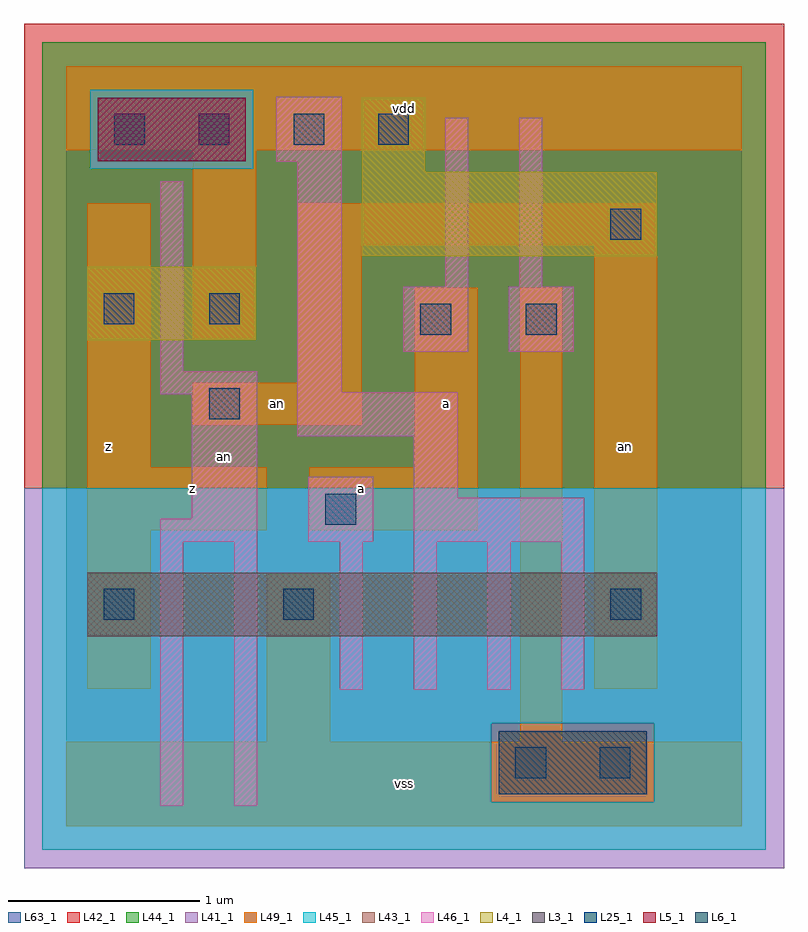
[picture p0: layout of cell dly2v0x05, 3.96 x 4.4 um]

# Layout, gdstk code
import gdstk
lib = gdstk.Library(unit=1e-6, precision=1e-09)
def R(c, l, rs):  # rectangles x0, y0, x1, y1
    for r in rs: c.add(gdstk.rectangle(r[:2], r[2:], *l))
def A(c, l, x, y, w, h, nx, ny, dx, dy):  # array of equal rectangles
    R(c, l, [(x+i*dx, y+j*dy, x+i*dx+w, y+j*dy+h) for i in range(nx) for j in range(ny)])
L3_1 = (3, 1)
L4_1 = (4, 1)
L5_1 = (5, 1)
L6_1 = (6, 1)
L25_1 = (25, 1)
L41_1 = (41, 1)
L42_1 = (42, 1)
L43_1 = (43, 1)
L44_1 = (44, 1)
L45_1 = (45, 1)
L46_1 = (46, 1)
L49_1 = (49, 1)
L63_1 = (63, 1)

dly2v0x05 = lib.new_cell('dly2v0x05')
R(dly2v0x05, L3_1, [(0.11,0.99,3.08,1.32)])
R(dly2v0x05, L4_1, [(0.11,2.53,0.99,2.915), (1.54,2.97,3.08,3.41), (1.54,3.41,1.87,3.795)])
R(dly2v0x05, L5_1, [(0.165,3.465,0.935,3.795)])
R(dly2v0x05, L6_1, [(2.255,0.165,3.025,0.495)])
R(dly2v0x05, L25_1, [(2.34,0.25,2.5,0.41), (2.78,0.25,2.94,0.41), (0.195,1.075,0.355,1.235), (1.13,1.075,1.29,1.235), (2.835,1.075,2.995,1.235), (1.35,1.57,1.51,1.73), (0.745,2.12,0.905,2.28), (1.845,2.56,2.005,2.72), (2.395,2.56,2.555,2.72), (0.195,2.615,0.355,2.775), (0.745,2.615,0.905,2.775), (2.835,3.055,2.995,3.215), (0.25,3.55,0.41,3.71), (0.69,3.55,0.85,3.71), (1.185,3.55,1.345,3.71), (1.625,3.55,1.785,3.71)])
R(dly2v0x05, L41_1, [(-0.22,-0.22,3.74,1.76)])
R(dly2v0x05, L42_1, [(-0.22,1.76,3.74,4.18)])
R(dly2v0x05, L43_1, [(2.255,0.165,3.025,0.495), (0.11,0.99,3.08,1.32), (0.11,2.53,0.99,2.915), (1.54,2.97,3.08,3.41), (1.54,3.41,1.87,3.795), (0.165,3.465,0.935,3.795)])
R(dly2v0x05, L44_1, [(2.215,0.125,3.065,0.535), (-0.125,1.76,3.645,3.425), (-0.125,3.425,0.125,3.835), (0.975,3.425,3.645,3.835), (-0.125,3.835,3.645,4.085)])
R(dly2v0x05, L45_1, [(-0.125,-0.125,3.645,0.125), (-0.125,0.125,2.215,0.535), (3.065,0.125,3.645,0.535), (-0.125,0.535,3.645,1.76), (0.125,3.425,0.975,3.835)])
A(dly2v0x05, L46_1, 1.425, 0.71, 0.12, 0.77, 4, 1, 0.385, 0)
R(dly2v0x05, L46_1, [(0.49,0.105,0.61,1.48), (0.875,0.105,0.995,1.48), (0.49,1.48,0.995,1.6), (1.26,1.48,1.6,1.82), (1.81,1.48,2.7,1.71), (0.655,1.6,0.995,2.25), (1.81,1.71,2.04,2.03), (1.205,2.03,2.04,2.26), (0.49,2.25,0.995,2.37), (1.205,2.26,1.435,3.46), (0.49,2.37,0.61,3.36), (1.755,2.47,2.095,2.81), (2.305,2.47,2.645,2.81), (1.975,2.81,2.095,3.69), (2.36,2.81,2.48,3.69), (1.095,3.46,1.435,3.8)])
R(dly2v0x05, L49_1, [(0,0,3.52,0.44), (1.045,0.44,1.375,1.32), (2.365,0.44,2.585,2.805), (0.11,0.715,0.44,1.54), (2.75,0.715,3.08,3.025), (0.11,1.54,1.045,1.87), (1.265,1.54,2.145,1.87), (0.11,1.87,0.44,3.245), (1.815,1.87,2.145,2.805), (0.66,2.09,1.54,2.31), (1.21,2.31,1.54,3.025), (0.66,2.53,0.99,3.52), (1.21,3.025,3.08,3.245), (0,3.52,3.52,3.96)])
R(dly2v0x05, L63_1, [(0,0,3.52,3.96)])
dly2v0x05.add(gdstk.Label('an', (0.825,1.925), layer=46, texttype=1))
dly2v0x05.add(gdstk.Label('z', (0.66,1.76), layer=49, texttype=1))
dly2v0x05.add(gdstk.Label('z', (0.22,1.98), layer=49, texttype=1))
dly2v0x05.add(gdstk.Label('a', (1.54,1.76), layer=49, texttype=1))
dly2v0x05.add(gdstk.Label('an', (1.1,2.2), layer=49, texttype=1))
dly2v0x05.add(gdstk.Label('vss', (1.76,0.22), layer=49, texttype=1))
dly2v0x05.add(gdstk.Label('a', (1.98,2.2), layer=49, texttype=1))
dly2v0x05.add(gdstk.Label('vdd', (1.76,3.74), layer=49, texttype=1))
dly2v0x05.add(gdstk.Label('an', (2.915,1.98), layer=49, texttype=1))

lib.write_gds('dly2v0x05.gds')
